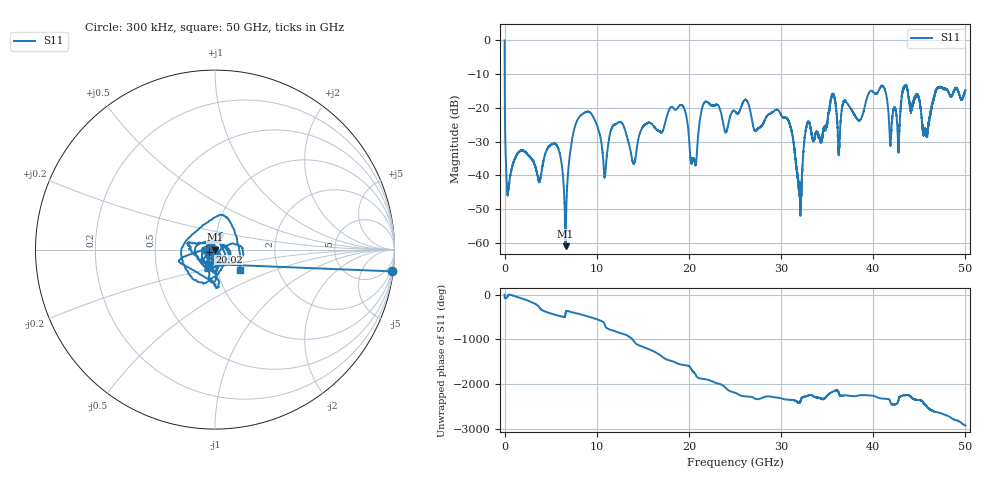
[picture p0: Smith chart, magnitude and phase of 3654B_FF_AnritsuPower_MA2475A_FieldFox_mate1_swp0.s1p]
!Created with skrf (http://scikit-rf.org).
# Hz S RI R 50.0
!freq ReS11 ImS11
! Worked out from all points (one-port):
!   10001 points, 300 kHz to 50 GHz, reference 50 ohm
!   lowest |S11| = -61.0 dB at 6.61 GHz (marker M1), VSWR 1.00, Z = 50 - j0.084 ohm
!   |S11| at or under -10 dB: 7.693 MHz to end of sweep
!   S11 on the Smith chart (normalised r, x): 300 kHz: 1, -16; 20.02 GHz: 0.94, -0.02; 50 GHz: 1.27, -0.32
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300000  0.9862 -0.1213
4.152975e8  0.00618 -0.0012
1.815289e9  0.00166 -0.0232
3.755277e9  0.00172 0.00793
5.475267e9  -0.00135 -0.0294
6.250262e9  -0.00854 -0.00952
6.61026e9  0.000311 -0.00084
8.065252e9  0.0218 -0.0687
9.640242e9  -0.0699 -0.0185
1.087523e10  0.0069 0.00642
1.250022e10  -0.0449 -0.0424
1.400522e10  0.0106 0.0109
1.508521e10  -0.00394 -0.0541
1.875019e10  -0.0142 -0.0976
2.002018e10  -0.0312 -0.0108
2.064018e10  0.0115 0.0108
2.177517e10  0.00124 -0.1228
2.500015e10  0.0765 -0.0448
3.125011e10  -0.0368 0.00967
3.202511e10  -0.00156 0.00458
3.28951e10  -0.00763 -0.0603
3.750008e10  -0.0213 -0.0976
4.101505e10  -0.2018 -0.0643
4.270004e10  -0.017 0.0198
4.375004e10  0.0228 -0.1669
4.564503e10  0.0234 0.0425
4.702002e10  -0.0733 -0.1862
5e10  0.1352 -0.121
